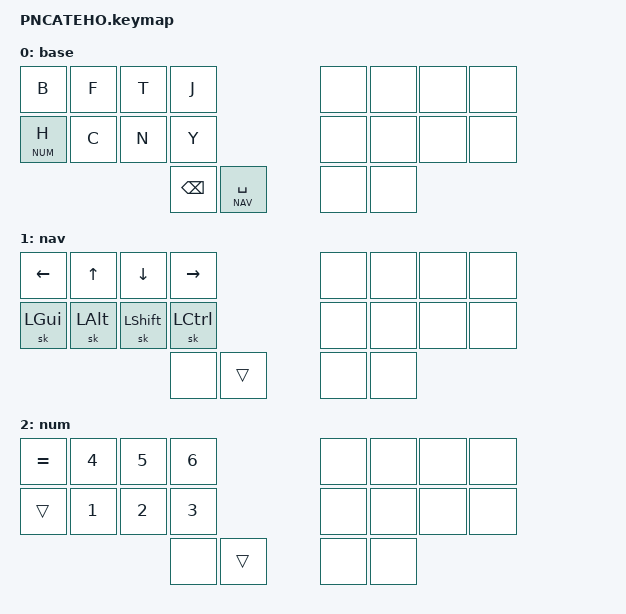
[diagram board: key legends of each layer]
/*
 * Copyright (c) 2020 The ZMK Contributors
 *
 * SPDX-License-Identifier: MIT
 */

#include <behaviors.dtsi>
#include <dt-bindings/zmk/bt.h>
#include <dt-bindings/zmk/keys.h>
#include <dt-bindings/zmk/outputs.h>
#include <dt-bindings/zmk/ext_power.h>

// CONFIG
#define COMBO_TIMEOUT 70
#define COMBO_LAYERS 0
#define STICKY_TIMEOUT 1000

// LAYERS
#define BASE 0
#define NAV 1
#define NUM 2

// LEFT SIDE
#define TLP 0 // TOP
#define TLR 1 // TOP
#define TLM 2 // TOP
#define TLI 3 // TOP
#define BLP 8 // BOTTOM
#define BLR 9 // BOTTOM
#define BLM 10 // BOTTOM
#define BLI 11 // BOTTOM
#define LOT 16 // O-THUMB
#define LIT 17 // I-THUMB

// RIGHT SIDE
#define TRP 4 // TOP
#define TRR 5 // TOP
#define TRM 6 // TOP
#define TRI 7 // TOP
#define BRP 12 // BOTTOM
#define BRR 13 // BOTTOM
#define BRM 14 // BOTTOM
#define BRI 15 // BOTTOM
#define ROT 18 // O-THUMB
#define RIT 19 // I-THUMB

&sk {
    release-after-ms = <STICKY_TIMEOUT>;
    quick-release;
};

// Space on tap, NAV layer on hold (inner thumb)
&lt {
    flavor = "balanced";
    tapping-term-ms = <200>;
    quick-tap-ms = <175>;
};

/ {
  behaviors {
    // H on tap, NUM layer on hold (bottom pinky).
    // require-prior-idle-ms: pressed right after another key = always tap, so fast typing of "h" stays safe
    num_lt: num_layer_tap {
      compatible = "zmk,behavior-hold-tap";
      #binding-cells = <2>;
      flavor = "balanced";
      tapping-term-ms = <200>;
      quick-tap-ms = <175>;
      require-prior-idle-ms = <150>;
      bindings = <&mo>, <&kp>;
    };
  };

  combos {
    compatible = "zmk,combos";
    #include "chords.dtsi"

    // NAV layer: ring + middle (top) = Tab
    combo_nav_tab {
      timeout-ms = <COMBO_TIMEOUT>;
      bindings = <&kp TAB>;
      key-positions = <TLR TLM>;
      layers = <NAV>;
    };

    // NUM layer
    combo_num_7 {
      timeout-ms = <COMBO_TIMEOUT>;
      bindings = <&kp N7>;
      key-positions = <TLR TLM>;
      layers = <NUM>;
    };
    combo_num_8 {
      timeout-ms = <COMBO_TIMEOUT>;
      bindings = <&kp N8>;
      key-positions = <TLM TLI>;
      layers = <NUM>;
    };
    combo_num_9 {
      timeout-ms = <COMBO_TIMEOUT>;
      bindings = <&kp N9>;
      key-positions = <BLR BLM>;
      layers = <NUM>;
    };
    combo_num_0 {
      timeout-ms = <COMBO_TIMEOUT>;
      bindings = <&kp N0>;
      key-positions = <BLM BLI>;
      layers = <NUM>;
    };
  };

  keymap {
    compatible = "zmk,keymap";

    default_layer {
      display-name = "base";
      bindings = <
        &kp B         &kp F &kp T &kp J                    &none &none &none &none
        &num_lt NUM H &kp C &kp N &kp Y                    &none &none &none &none
                                  &kp BSPC &lt NAV SPACE   &none &none
      >;
    };

    nav_layer {
      display-name = "nav";
      bindings = <
        &kp LEFT &kp UP   &kp DOWN   &kp RIGHT             &none &none &none &none
        &sk LGUI &sk LALT &sk LSHIFT &sk LCTRL             &none &none &none &none
                                     &none &trans          &none &none
      >;
    };

    num_layer {
      display-name = "num";
      bindings = <
        &kp EQUAL &kp N4 &kp N5 &kp N6                     &none &none &none &none
        &trans    &kp N1 &kp N2 &kp N3                     &none &none &none &none
                                &none &trans               &none &none
      >;
    };
  };
};
